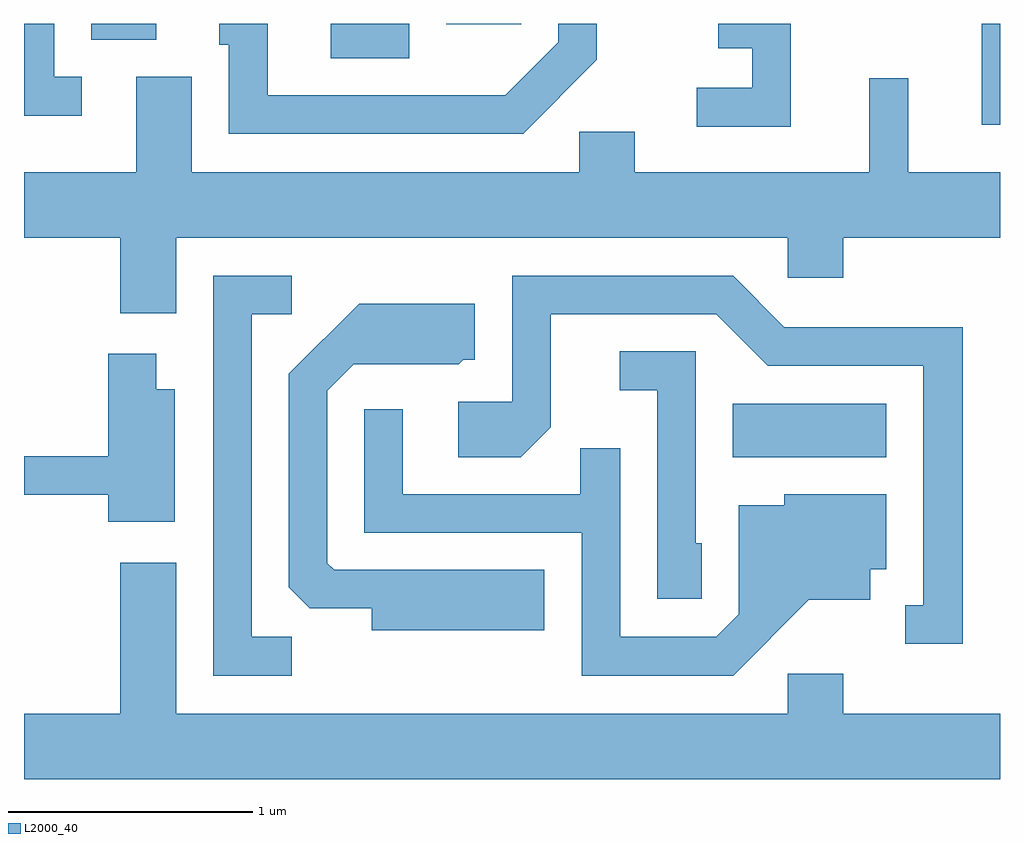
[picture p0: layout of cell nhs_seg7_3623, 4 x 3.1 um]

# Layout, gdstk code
import gdstk
lib = gdstk.Library(unit=1e-6, precision=1e-09)
def R(c, l, rs):  # rectangles x0, y0, x1, y1
    for r in rs: c.add(gdstk.rectangle(r[:2], r[2:], *l))
def P(c, l, *ps):  # polygons
    for p in ps: c.add(gdstk.Polygon(p, *l))
L2000_40 = (2000, 40)

nhs_seg7_3623 = lib.new_cell('nhs_seg7_3623')
R(nhs_seg7_3623, L2000_40, [(298.516,1764.476,299.144,1764.694), (299.536,1765.838,299.611,1766.252), (296.868,1766.111,297.189,1766.252), (295.886,1766.186,296.154,1766.252), (297.341,1766.251,297.649,1766.252)])
P(nhs_seg7_3623, L2000_40, [(298.754,1766.252),(298.456,1766.252),(298.456,1766.151),(298.596,1766.151),(298.596,1765.989),(298.368,1765.989),(298.368,1765.831),(298.754,1765.831)],
  [(295.848,1766.034),(295.734,1766.034),(295.734,1766.252),(295.611,1766.252),(295.611,1765.876),(295.848,1765.876)],
  [(297.959,1766.104),(297.959,1766.252),(297.801,1766.252),(297.801,1766.177),(297.584,1765.959),(296.609,1765.959),(296.609,1766.252),(296.411,1766.252),(296.411,1766.166),(296.451,1766.166),(296.451,1765.801),(297.657,1765.801)],
  [(296.234,1765.376),(298.741,1765.376),(298.741,1765.211),(298.969,1765.211),(298.969,1765.376),(299.611,1765.376),(299.611,1765.644),(299.234,1765.644),(299.234,1766.028),(299.076,1766.028),(299.076,1765.644),(298.114,1765.644),(298.114,1765.809),(297.886,1765.809),(297.886,1765.644),(296.299,1765.644),(296.299,1766.034),(296.071,1766.034),(296.071,1765.644),(295.611,1765.644),(295.611,1765.376),(296.006,1765.376),(296.006,1765.066),(296.234,1765.066)],
  [(296.708,1763.739),(296.544,1763.739),(296.544,1765.061),(296.708,1765.061),(296.708,1765.219),(296.386,1765.219),(296.386,1763.581),(296.708,1763.581)],
  [(299.459,1765.009),(298.727,1765.009),(298.517,1765.219),(297.611,1765.219),(297.611,1764.704),(297.391,1764.704),(297.391,1764.476),(297.647,1764.476),(297.769,1764.599),(297.769,1765.061),(298.449,1765.061),(298.659,1764.851),(299.296,1764.851),(299.296,1763.869),(299.223,1763.869),(299.223,1763.711),(299.459,1763.711)],
  [(297.744,1764.014),(296.882,1764.014),(296.854,1764.042),(296.854,1764.749),(296.962,1764.856),(297.392,1764.856),(297.412,1764.876),(297.459,1764.876),(297.459,1765.104),(296.984,1765.104),(296.696,1764.817),(296.696,1763.942),(296.782,1763.856),(297.036,1763.856),(297.036,1763.766),(297.744,1763.766)],
  [(298.389,1764.124),(298.364,1764.124),(298.364,1764.909),(298.053,1764.909),(298.053,1764.751),(298.206,1764.751),(298.206,1763.896),(298.389,1763.896)],
  [(296.229,1764.754),(296.154,1764.754),(296.154,1764.899),(295.956,1764.899),(295.956,1764.479),(295.611,1764.479),(295.611,1764.321),(295.956,1764.321),(295.956,1764.211),(296.229,1764.211)],
  [(298.827,1763.891),(299.079,1763.891),(299.079,1764.016),(299.144,1764.016),(299.144,1764.324),(298.726,1764.324),(298.726,1764.279),(298.541,1764.279),(298.541,1763.832),(298.449,1763.739),(298.054,1763.739),(298.054,1764.513),(297.891,1764.513),(297.891,1764.324),(297.164,1764.324),(297.164,1764.673),(297.006,1764.673),(297.006,1764.166),(297.896,1764.166),(297.896,1763.581),(298.517,1763.581)],
  [(299.611,1763.424),(298.969,1763.424),(298.969,1763.589),(298.741,1763.589),(298.741,1763.424),(296.234,1763.424),(296.234,1764.044),(296.006,1764.044),(296.006,1763.424),(295.611,1763.424),(295.611,1763.156),(299.611,1763.156)])

lib.write_gds('nhs_seg7_3623.gds')
